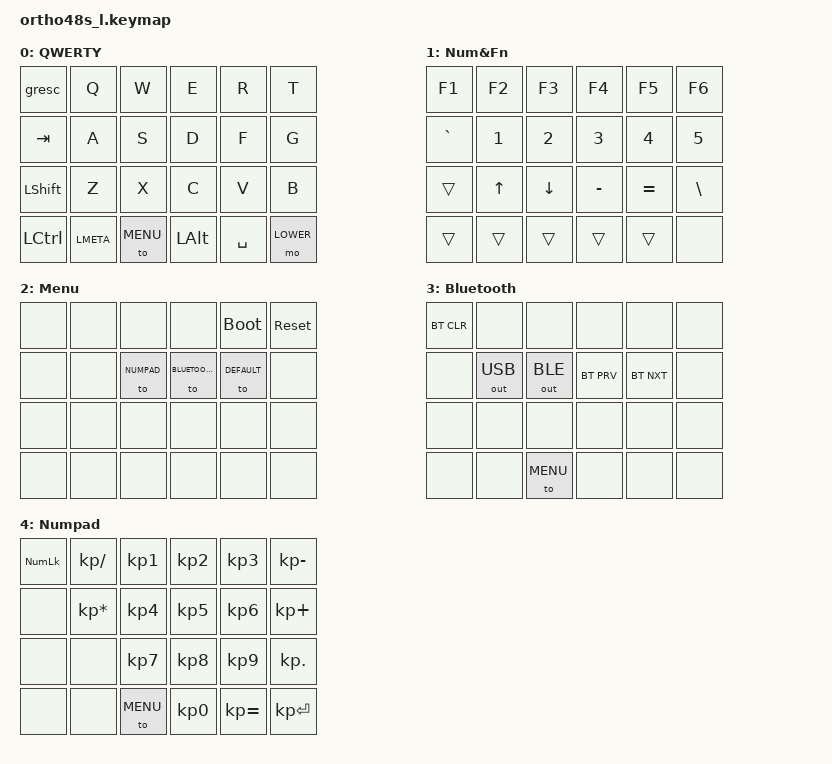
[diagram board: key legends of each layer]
#include <behaviors.dtsi>
#include <dt-bindings/zmk/keys.h>
#include <dt-bindings/zmk/bt.h>
#include <dt-bindings/zmk/outputs.h>

#define DEFAULT 0
#define LOWER 1
#define MENU 2
#define BLUETOOTH 3
#define NUMPAD 4

/ {
  keymap {
    compatible = "zmk,keymap";

    default_layer {
      display-name = "QWERTY";
      bindings = <
        &gresc &kp Q &kp W &kp E &kp R &kp T
        &kp TAB &kp A &kp S &kp D &kp F &kp G
        &kp LSHIFT &kp Z &kp X &kp C &kp V &kp B
        &kp LCTRL &kp LMETA &to MENU &kp LALT &kp SPACE &mo LOWER
      >;
    };
    lower_layer {
      display-name = "Num&Fn";
      bindings = <
        &kp F1 &kp F2 &kp F3 &kp F4 &kp F5 &kp F6
        &kp GRAVE &kp N1 &kp N2 &kp N3 &kp N4 &kp N5
        &trans &kp UP &kp DOWN &kp MINUS &kp EQUAL &kp BACKSLASH
        &trans &trans &trans &trans &trans &none
      >;
    };
    menu_layer {
      display-name = "Menu";
      bindings = <
        &none &none &none &none &bootloader &sys_reset
        &none &none &to NUMPAD &to BLUETOOTH &to DEFAULT &none
        &none &none &none &none &none &none
        &none &none &none &none &none &none
      >;
    };
    bluetooth_layer {
      display-name = "Bluetooth";
      bindings = <
        &bt BT_CLR &none &none &none &none &none
        &none &out OUT_USB &out OUT_BLE &bt BT_PRV &bt BT_NXT &none
        &none &none &none &none &none &none
        &none &none &to MENU &none &none &none
      >;
    };
    Numpad_layer {
      display-name = "Numpad";
      bindings = <
        &kp KP_NUMLOCK &kp KP_DIVIDE &kp KP_N1 &kp KP_N2 &kp KP_N3 &kp KP_MINUS
        &none &kp KP_MULTIPLY &kp KP_N4 &kp KP_N5 &kp KP_N6 &kp KP_PLUS
        &none &none &kp KP_N7 &kp KP_N8 &kp KP_N9 &kp KP_DOT
        &none &none &to MENU &kp KP_N0 &kp KP_EQUAL &kp KP_ENTER
      >;
    };
  };
};
